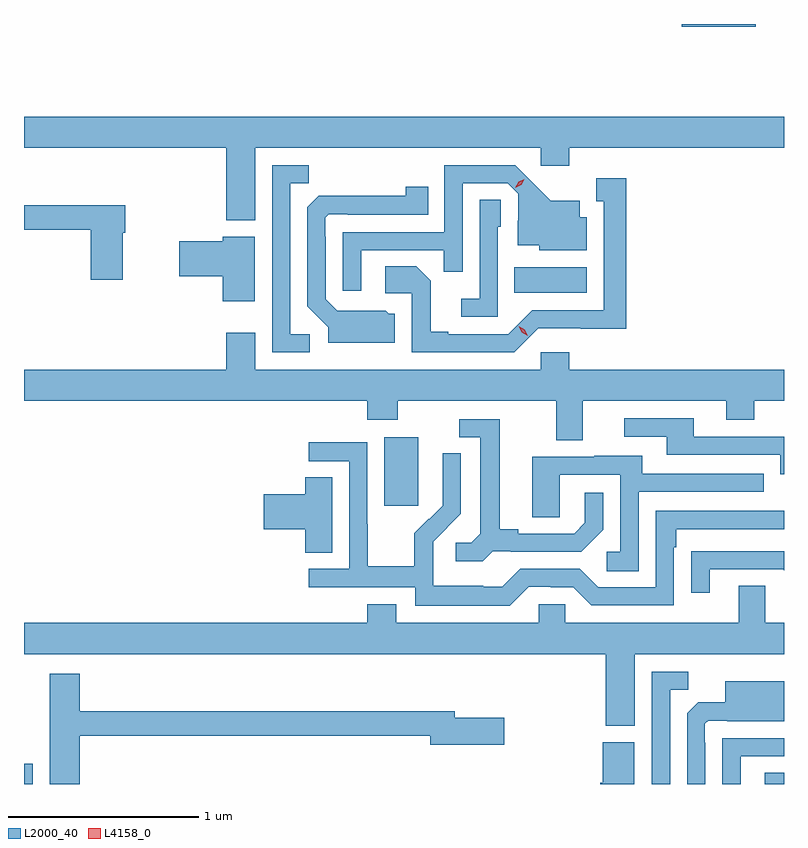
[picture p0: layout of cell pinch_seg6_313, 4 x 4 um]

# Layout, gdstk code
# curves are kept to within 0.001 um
import gdstk
lib = gdstk.Library(unit=1e-6, precision=1e-09)
def R(c, l, rs):  # rectangles x0, y0, x1, y1
    for r in rs: c.add(gdstk.rectangle(r[:2], r[2:], *l))
def P(c, l, *ps):  # polygons
    for p in ps: c.add(gdstk.Polygon(p, *l))
L2000_40 = (2000, 40)
L4158_0 = (4158, 0)

pinch_seg6_313 = lib.new_cell('pinch_seg6_313')
R(pinch_seg6_313, L2000_40, [(636.065,963.968,636.111,964.075), (639.963,963.968,640.065,964.028), (637.961,965.433,638.14,965.794), (638.644,966.554,639.028,966.688), (639.528,967.954,639.916,967.968)])
P(pinch_seg6_313, L2000_40, [(637.282,967.316),(638.784,967.316),(638.784,967.221),(638.936,967.221),(638.936,967.316),(640.065,967.316),(640.065,967.48),(636.065,967.48),(636.065,967.316),(637.13,967.316),(637.13,966.936),(637.282,966.936)],
  [(637.57,966.336),(637.467,966.336),(637.467,967.129),(637.563,967.129),(637.563,967.224),(637.371,967.224),(637.371,966.24),(637.57,966.24)],
  [(637.839,966.777),(638.275,966.777),(638.275,966.664),(638.373,966.664),(638.373,967.131),(638.61,967.131),(638.667,967.074),(638.667,966.932),(638.663,966.932),(638.663,966.803),(638.778,966.803),(638.778,966.776),(639.028,966.776),(639.028,966.952),(638.989,966.952),(638.989,967.039),(638.837,967.039),(638.65,967.224),(638.277,967.224),(638.277,966.873),(637.743,966.873),(637.743,966.564),(637.839,966.564)],
  [(638.772,966.366),(639.235,966.365),(639.235,967.156),(639.077,967.156),(639.077,967.035),(639.116,967.035),(639.116,966.462),(638.739,966.462),(638.613,966.336),(638.299,966.336),(638.299,966.349),(638.205,966.349),(638.205,966.616),(638.129,966.692),(637.965,966.692),(637.965,966.552),(638.106,966.552),(638.106,966.24),(638.646,966.24)],
  [(638.017,966.444),(637.986,966.444),(637.97,966.46),(637.713,966.459),(637.653,966.519),(637.653,966.848),(637.65,966.848),(637.65,966.948),(637.668,966.966),(637.768,966.966),(637.768,966.963),(638.192,966.963),(638.192,967.111),(638.074,967.111),(638.074,967.064),(637.616,967.063),(637.557,967.004),(637.557,966.482),(637.667,966.372),(637.667,966.29),(638.017,966.29)],
  [(638.559,966.9),(638.574,966.9),(638.574,967.043),(638.463,967.043),(638.463,966.523),(638.367,966.523),(638.367,966.426),(638.559,966.426)],
  [(636.586,966.869),(636.599,966.869),(636.599,967.015),(636.065,967.015),(636.065,966.886),(636.416,966.886),(636.416,966.621),(636.586,966.621)],
  [(637.279,966.847),(637.112,966.847),(637.112,966.824),(636.882,966.824),(636.882,966.641),(637.112,966.641),(637.112,966.51),(637.279,966.51)],
  [(639.007,965.984),(639.761,965.984),(639.761,965.885),(639.909,965.885),(639.909,965.984),(640.065,965.984),(640.065,966.148),(638.936,966.148),(638.936,966.241),(638.784,966.241),(638.784,966.148),(637.282,966.148),(637.282,966.343),(637.13,966.343),(637.13,966.148),(636.065,966.148),(636.065,965.984),(637.871,965.984),(637.871,965.885),(638.031,965.885),(638.031,965.984),(638.867,965.984),(638.867,965.776),(639.007,965.776)],
  [(640.065,965.796),(639.589,965.796),(639.589,965.892),(639.225,965.892),(639.225,965.796),(639.449,965.796),(639.449,965.7),(640.044,965.7),(640.044,965.597),(640.065,965.597)],
  [(638.532,965.193),(638.626,965.193),(638.626,965.19),(638.998,965.19),(639.114,965.306),(639.114,965.5),(639.017,965.5),(639.017,965.343),(638.96,965.286),(638.665,965.286),(638.665,965.309),(638.569,965.309),(638.569,965.889),(638.355,965.889),(638.355,965.793),(638.465,965.793),(638.465,965.285),(638.418,965.238),(638.337,965.238),(638.337,965.141),(638.48,965.141)],
  [(638.721,965.007),(638.837,965.007),(638.837,965.004),(638.955,965.004),(639.051,964.908),(639.486,964.908),(639.486,965.213),(639.499,965.213),(639.499,965.31),(640.065,965.31),(640.065,965.406),(639.39,965.406),(639.39,965.004),(639.087,965.004),(638.991,965.1),(638.676,965.1),(638.583,965.007),(638.483,965.007),(638.483,965.011),(638.22,965.011),(638.22,965.145),(638.218,965.145),(638.218,965.242),(638.364,965.39),(638.364,965.708),(638.268,965.708),(638.268,965.554),(638.27,965.554),(638.27,965.432),(638.199,965.361),(638.196,965.364),(638.119,965.287),(638.119,965.113),(637.875,965.113),(637.875,965.336),(637.872,965.336),(637.872,965.766),(637.563,965.766),(637.563,965.667),(637.776,965.667),(637.776,965.1),(637.563,965.1),(637.563,965.004),(638.124,965.004),(638.124,964.907),(638.621,964.907)],
  [(639.3,965.505),(639.959,965.505),(639.959,965.601),(639.319,965.601),(639.319,965.695),(639.065,965.695),(639.065,965.691),(638.741,965.691),(638.741,965.371),(638.886,965.371),(638.886,965.595),(639.204,965.595),(639.204,965.19),(639.132,965.19),(639.132,965.089),(639.3,965.089)],
  [(637.687,965.582),(637.544,965.582),(637.544,965.492),(637.326,965.492),(637.326,965.309),(637.544,965.309),(637.544,965.185),(637.687,965.185)],
  [(639.673,965.097),(640.063,965.097),(640.063,965.092),(640.065,965.092),(640.065,965.193),(639.679,965.193),(639.679,965.192),(639.577,965.192),(639.577,964.974),(639.673,964.974)],
  [(639.28,964.652),(640.065,964.652),(640.065,964.816),(639.967,964.816),(639.967,965.011),(639.827,965.011),(639.827,964.816),(638.913,964.816),(638.913,964.914),(638.775,964.914),(638.775,964.816),(638.023,964.816),(638.023,964.915),(637.871,964.915),(637.871,964.816),(636.065,964.816),(636.065,964.652),(639.128,964.652),(639.128,964.274),(639.28,964.274)],
  [(639.465,964.465),(639.561,964.465),(639.561,964.56),(639.369,964.56),(639.369,963.968),(639.465,963.968)],
  [(636.359,964.222),(638.204,964.222),(638.204,964.175),(638.593,964.175),(638.593,964.317),(638.332,964.317),(638.332,964.351),(636.359,964.351),(636.359,964.549),(636.2,964.549),(636.2,963.968),(636.359,963.968)],
  [(639.651,964.184),(639.648,964.184),(639.648,964.284),(639.666,964.302),(639.766,964.302),(639.766,964.298),(640.065,964.298),(640.065,964.51),(639.755,964.51),(639.755,964.399),(639.614,964.399),(639.555,964.34),(639.555,963.968),(639.651,963.968)],
  [(639.837,964.113),(640.065,964.113),(640.065,964.209),(639.741,964.209),(639.741,963.968),(639.837,963.968)],
  [(639.277,964.189),(639.11,964.189),(639.11,963.975),(639.098,963.975),(639.098,963.968),(639.277,963.968)])
P(pinch_seg6_313, L4158_0, [(638.717,966.326),(638.686,966.345),(638.669,966.378),(638.669,966.378),(638.669,966.378),(638.7,966.359),(638.717,966.326),(638.717,966.326)],
  [(638.651,967.107),(638.651,967.107),(638.668,967.137),(638.698,967.152),(638.698,967.152),(638.698,967.152),(638.682,967.122),(638.651,967.107)])

lib.write_gds('pinch_seg6_313.gds')
